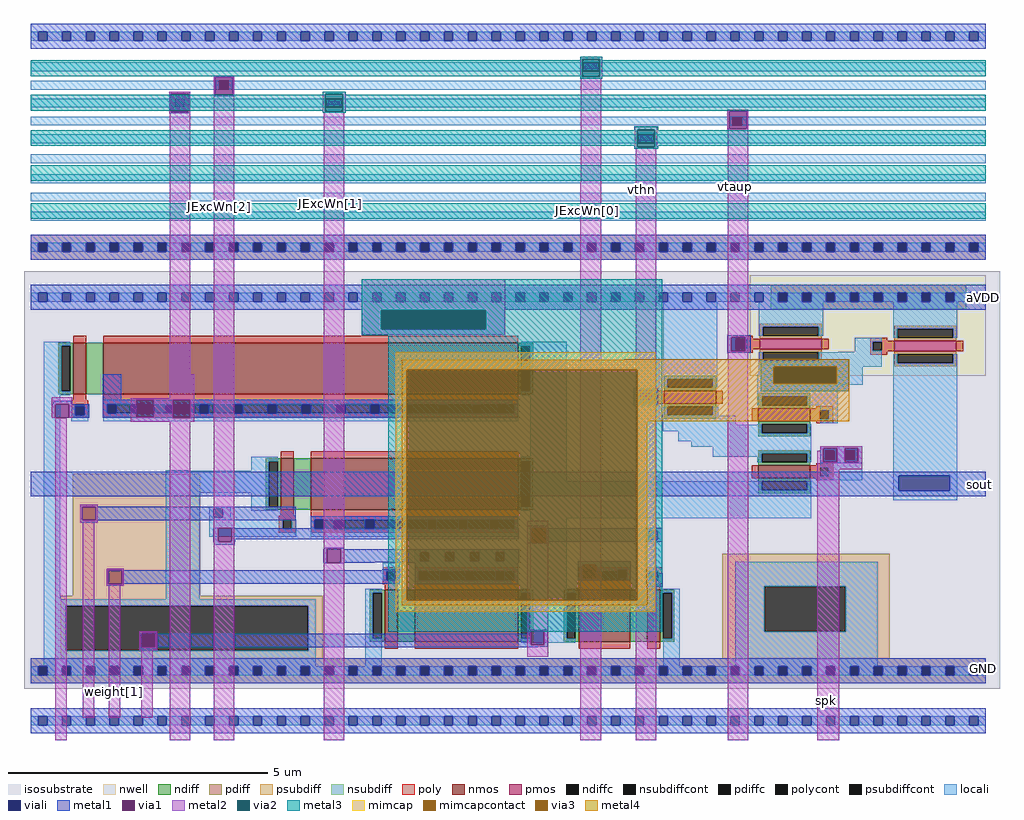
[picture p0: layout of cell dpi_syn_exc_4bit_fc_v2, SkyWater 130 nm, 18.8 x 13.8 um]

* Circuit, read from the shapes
.subckt dpi_syn_exc_4bit_fc_v2 GND spk sout weight[0] weight[2] weight[3] aVDD JExcWn[3] JExcWn[2] JExcWn[1] JExcWn[0] vthn vtaup weight[1]
XM1 n1 weight[3] GND GND sky130_fd_pr__nfet_01v8 w=1 l=0.25
XM2 n2 JExcWn[3] n1 GND sky130_fd_pr__nfet_01v8 w=1 l=8
XM3 n3 weight[2] GND GND sky130_fd_pr__nfet_01v8 w=1 l=0.25
XM4 n2 JExcWn[2] n3 GND sky130_fd_pr__nfet_01v8 w=1 l=4
XM5 n4 weight[1] GND GND sky130_fd_pr__nfet_01v8 w=1 l=0.25
XM6 n2 JExcWn[1] n4 GND sky130_fd_pr__nfet_01v8 w=1 l=2
XM7 n5 JExcWn[0] n2 GND sky130_fd_pr__nfet_01v8 w=1 l=1
XM8 GND weight[0] n5 GND sky130_fd_pr__nfet_01v8 w=1 l=0.25
XM9 aVDD vthn n6 GND sky130_fd_pr__nfet_01v8 w=1 l=0.25
XM10 n6 spk n2 GND sky130_fd_pr__nfet_01v8 w=1 l=0.25
XM11 n7 n7 n6 GND sky130_fd_pr__nfet_01v8 w=1 l=0.25
XM12 aVDD vtaup n7 aVDD sky130_fd_pr__pfet_01v8 w=1.2 l=0.2
XM13 aVDD n7 sout aVDD sky130_fd_pr__pfet_01v8 w=1.2 l=0.2
XC14 n7 aVDD sky130_fd_pr__cap_mim_m3_1 w=5 l=5
.ends

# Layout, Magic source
magic
tech sky130A
magscale 1 2
<< nwell >>
rect 15611 -8295 15684 -7909
<< psubdiff >>
rect 12004 -7784 15684 -7753
rect 12004 -7818 12033 -7784
rect 12067 -7818 12125 -7784
rect 12159 -7818 12217 -7784
rect 12251 -7818 12309 -7784
rect 12343 -7818 12401 -7784
rect 12435 -7818 12493 -7784
rect 12527 -7818 12585 -7784
rect 12619 -7818 12677 -7784
rect 12711 -7818 12769 -7784
rect 12803 -7818 12861 -7784
rect 12895 -7818 12953 -7784
rect 12987 -7818 13045 -7784
rect 13079 -7818 13137 -7784
rect 13171 -7818 13229 -7784
rect 13263 -7818 13321 -7784
rect 13355 -7818 13413 -7784
rect 13447 -7818 13505 -7784
rect 13539 -7818 13597 -7784
rect 13631 -7818 13689 -7784
rect 13723 -7818 13781 -7784
rect 13815 -7818 13873 -7784
rect 13907 -7818 13965 -7784
rect 13999 -7818 14057 -7784
rect 14091 -7818 14149 -7784
rect 14183 -7818 14241 -7784
rect 14275 -7818 14333 -7784
rect 14367 -7818 14425 -7784
rect 14459 -7818 14517 -7784
rect 14551 -7818 14609 -7784
rect 14643 -7818 14701 -7784
rect 14735 -7818 14793 -7784
rect 14827 -7818 14885 -7784
rect 14919 -7818 14977 -7784
rect 15011 -7818 15069 -7784
rect 15103 -7818 15161 -7784
rect 15195 -7818 15253 -7784
rect 15287 -7818 15345 -7784
rect 15379 -7818 15437 -7784
rect 15471 -7818 15529 -7784
rect 15563 -7818 15621 -7784
rect 15655 -7818 15684 -7784
rect 12004 -7849 15684 -7818
rect 12004 -9481 12006 -9385
rect 15611 -9416 15684 -9385
rect 15611 -9450 15621 -9416
rect 15655 -9450 15684 -9416
rect 15611 -9481 15684 -9450
<< psubdiffcont >>
rect 12033 -7818 12067 -7784
rect 12125 -7818 12159 -7784
rect 12217 -7818 12251 -7784
rect 12309 -7818 12343 -7784
rect 12401 -7818 12435 -7784
rect 12493 -7818 12527 -7784
rect 12585 -7818 12619 -7784
rect 12677 -7818 12711 -7784
rect 12769 -7818 12803 -7784
rect 12861 -7818 12895 -7784
rect 12953 -7818 12987 -7784
rect 13045 -7818 13079 -7784
rect 13137 -7818 13171 -7784
rect 13229 -7818 13263 -7784
rect 13321 -7818 13355 -7784
rect 13413 -7818 13447 -7784
rect 13505 -7818 13539 -7784
rect 13597 -7818 13631 -7784
rect 13689 -7818 13723 -7784
rect 13781 -7818 13815 -7784
rect 13873 -7818 13907 -7784
rect 13965 -7818 13999 -7784
rect 14057 -7818 14091 -7784
rect 14149 -7818 14183 -7784
rect 14241 -7818 14275 -7784
rect 14333 -7818 14367 -7784
rect 14425 -7818 14459 -7784
rect 14517 -7818 14551 -7784
rect 14609 -7818 14643 -7784
rect 14701 -7818 14735 -7784
rect 14793 -7818 14827 -7784
rect 14885 -7818 14919 -7784
rect 14977 -7818 15011 -7784
rect 15069 -7818 15103 -7784
rect 15161 -7818 15195 -7784
rect 15253 -7818 15287 -7784
rect 15345 -7818 15379 -7784
rect 15437 -7818 15471 -7784
rect 15529 -7818 15563 -7784
rect 15621 -7818 15655 -7784
rect 15621 -9450 15655 -9416
<< locali >>
rect 12004 -7005 12033 -6971
rect 12067 -7005 12125 -6971
rect 12159 -7005 12217 -6971
rect 12251 -7005 12309 -6971
rect 12343 -7005 12401 -6971
rect 12435 -7005 12493 -6971
rect 12527 -7005 12585 -6971
rect 12619 -7005 12677 -6971
rect 12711 -7005 12769 -6971
rect 12803 -7005 12861 -6971
rect 12895 -7005 12953 -6971
rect 12987 -7005 13045 -6971
rect 13079 -7005 13137 -6971
rect 13171 -7005 13229 -6971
rect 13263 -7005 13321 -6971
rect 13355 -7005 13413 -6971
rect 13447 -7005 13505 -6971
rect 13539 -7005 13597 -6971
rect 13631 -7005 13689 -6971
rect 13723 -7005 13781 -6971
rect 13815 -7005 13873 -6971
rect 13907 -7005 13965 -6971
rect 13999 -7005 14057 -6971
rect 14091 -7005 14149 -6971
rect 14183 -7005 14241 -6971
rect 14275 -7005 14333 -6971
rect 14367 -7005 14425 -6971
rect 14459 -7005 14517 -6971
rect 14551 -7005 14609 -6971
rect 14643 -7005 14701 -6971
rect 14735 -7005 14793 -6971
rect 14827 -7005 14885 -6971
rect 14919 -7005 14977 -6971
rect 15011 -7005 15069 -6971
rect 15103 -7005 15161 -6971
rect 15195 -7005 15253 -6971
rect 15287 -7005 15345 -6971
rect 15379 -7005 15437 -6971
rect 15471 -7005 15529 -6971
rect 15563 -7005 15621 -6971
rect 15655 -7005 15684 -6971
rect 12004 -7122 15684 -7088
rect 12004 -7192 12731 -7159
rect 12765 -7192 15684 -7159
rect 12004 -7193 15684 -7192
rect 12004 -7262 12561 -7228
rect 12595 -7262 15684 -7228
rect 14361 -7263 14395 -7262
rect 12004 -7298 15684 -7297
rect 12004 -7331 14710 -7298
rect 14744 -7331 15684 -7298
rect 12004 -7400 15684 -7366
rect 12004 -7477 15684 -7443
rect 12004 -7554 15684 -7520
rect 12004 -7624 15684 -7590
rect 12004 -7698 15684 -7664
rect 12004 -7818 12033 -7784
rect 12067 -7818 12125 -7784
rect 12159 -7818 12217 -7784
rect 12251 -7818 12309 -7784
rect 12343 -7818 12401 -7784
rect 12435 -7818 12493 -7784
rect 12527 -7818 12585 -7784
rect 12619 -7818 12677 -7784
rect 12711 -7818 12769 -7784
rect 12803 -7818 12861 -7784
rect 12895 -7818 12953 -7784
rect 12987 -7818 13045 -7784
rect 13079 -7818 13137 -7784
rect 13171 -7818 13229 -7784
rect 13263 -7818 13321 -7784
rect 13355 -7818 13413 -7784
rect 13447 -7818 13505 -7784
rect 13539 -7818 13597 -7784
rect 13631 -7818 13689 -7784
rect 13723 -7818 13781 -7784
rect 13815 -7818 13873 -7784
rect 13907 -7818 13965 -7784
rect 13999 -7818 14057 -7784
rect 14091 -7818 14149 -7784
rect 14183 -7818 14241 -7784
rect 14275 -7818 14333 -7784
rect 14367 -7818 14425 -7784
rect 14459 -7818 14517 -7784
rect 14551 -7818 14609 -7784
rect 14643 -7818 14701 -7784
rect 14735 -7818 14793 -7784
rect 14827 -7818 14885 -7784
rect 14919 -7818 14977 -7784
rect 15011 -7818 15069 -7784
rect 15103 -7818 15161 -7784
rect 15195 -7818 15253 -7784
rect 15287 -7818 15345 -7784
rect 15379 -7818 15437 -7784
rect 15471 -7818 15529 -7784
rect 15563 -7818 15621 -7784
rect 15655 -7818 15684 -7784
rect 12004 -8010 12008 -7976
rect 15611 -8010 15621 -7976
rect 15655 -8010 15684 -7976
rect 12004 -9450 12006 -9416
rect 15611 -9450 15621 -9416
rect 15655 -9450 15684 -9416
rect 12004 -9642 12033 -9608
rect 12067 -9642 12125 -9608
rect 12159 -9642 12217 -9608
rect 12251 -9642 12309 -9608
rect 12343 -9642 12401 -9608
rect 12435 -9642 12493 -9608
rect 12527 -9642 12585 -9608
rect 12619 -9642 12677 -9608
rect 12711 -9642 12769 -9608
rect 12803 -9642 12861 -9608
rect 12895 -9642 12953 -9608
rect 12987 -9642 13045 -9608
rect 13079 -9642 13137 -9608
rect 13171 -9642 13229 -9608
rect 13263 -9642 13321 -9608
rect 13355 -9642 13413 -9608
rect 13447 -9642 13505 -9608
rect 13539 -9642 13597 -9608
rect 13631 -9642 13689 -9608
rect 13723 -9642 13781 -9608
rect 13815 -9642 13873 -9608
rect 13907 -9642 13965 -9608
rect 13999 -9642 14057 -9608
rect 14091 -9642 14149 -9608
rect 14183 -9642 14241 -9608
rect 14275 -9642 14333 -9608
rect 14367 -9642 14425 -9608
rect 14459 -9642 14517 -9608
rect 14551 -9642 14609 -9608
rect 14643 -9642 14701 -9608
rect 14735 -9642 14793 -9608
rect 14827 -9642 14885 -9608
rect 14919 -9642 14977 -9608
rect 15011 -9642 15069 -9608
rect 15103 -9642 15161 -9608
rect 15195 -9642 15253 -9608
rect 15287 -9642 15345 -9608
rect 15379 -9642 15437 -9608
rect 15471 -9642 15529 -9608
rect 15563 -9642 15621 -9608
rect 15655 -9642 15684 -9608
<< viali >>
rect 12033 -7005 12067 -6971
rect 12125 -7005 12159 -6971
rect 12217 -7005 12251 -6971
rect 12309 -7005 12343 -6971
rect 12401 -7005 12435 -6971
rect 12493 -7005 12527 -6971
rect 12585 -7005 12619 -6971
rect 12677 -7005 12711 -6971
rect 12769 -7005 12803 -6971
rect 12861 -7005 12895 -6971
rect 12953 -7005 12987 -6971
rect 13045 -7005 13079 -6971
rect 13137 -7005 13171 -6971
rect 13229 -7005 13263 -6971
rect 13321 -7005 13355 -6971
rect 13413 -7005 13447 -6971
rect 13505 -7005 13539 -6971
rect 13597 -7005 13631 -6971
rect 13689 -7005 13723 -6971
rect 13781 -7005 13815 -6971
rect 13873 -7005 13907 -6971
rect 13965 -7005 13999 -6971
rect 14057 -7005 14091 -6971
rect 14149 -7005 14183 -6971
rect 14241 -7005 14275 -6971
rect 14333 -7005 14367 -6971
rect 14425 -7005 14459 -6971
rect 14517 -7005 14551 -6971
rect 14609 -7005 14643 -6971
rect 14701 -7005 14735 -6971
rect 14793 -7005 14827 -6971
rect 14885 -7005 14919 -6971
rect 14977 -7005 15011 -6971
rect 15069 -7005 15103 -6971
rect 15161 -7005 15195 -6971
rect 15253 -7005 15287 -6971
rect 15345 -7005 15379 -6971
rect 15437 -7005 15471 -6971
rect 15529 -7005 15563 -6971
rect 15621 -7005 15655 -6971
rect 12731 -7192 12765 -7158
rect 12561 -7262 12595 -7228
rect 14710 -7332 14744 -7298
rect 12033 -7818 12067 -7784
rect 12125 -7818 12159 -7784
rect 12217 -7818 12251 -7784
rect 12309 -7818 12343 -7784
rect 12401 -7818 12435 -7784
rect 12493 -7818 12527 -7784
rect 12585 -7818 12619 -7784
rect 12677 -7818 12711 -7784
rect 12769 -7818 12803 -7784
rect 12861 -7818 12895 -7784
rect 12953 -7818 12987 -7784
rect 13045 -7818 13079 -7784
rect 13137 -7818 13171 -7784
rect 13229 -7818 13263 -7784
rect 13321 -7818 13355 -7784
rect 13413 -7818 13447 -7784
rect 13505 -7818 13539 -7784
rect 13597 -7818 13631 -7784
rect 13689 -7818 13723 -7784
rect 13781 -7818 13815 -7784
rect 13873 -7818 13907 -7784
rect 13965 -7818 13999 -7784
rect 14057 -7818 14091 -7784
rect 14149 -7818 14183 -7784
rect 14241 -7818 14275 -7784
rect 14333 -7818 14367 -7784
rect 14425 -7818 14459 -7784
rect 14517 -7818 14551 -7784
rect 14609 -7818 14643 -7784
rect 14701 -7818 14735 -7784
rect 14793 -7818 14827 -7784
rect 14885 -7818 14919 -7784
rect 14977 -7818 15011 -7784
rect 15069 -7818 15103 -7784
rect 15161 -7818 15195 -7784
rect 15253 -7818 15287 -7784
rect 15345 -7818 15379 -7784
rect 15437 -7818 15471 -7784
rect 15529 -7818 15563 -7784
rect 15621 -7818 15655 -7784
rect 15621 -8010 15655 -7976
rect 15621 -9450 15655 -9416
rect 12033 -9642 12067 -9608
rect 12125 -9642 12159 -9608
rect 12217 -9642 12251 -9608
rect 12309 -9642 12343 -9608
rect 12401 -9642 12435 -9608
rect 12493 -9642 12527 -9608
rect 12585 -9642 12619 -9608
rect 12677 -9642 12711 -9608
rect 12769 -9642 12803 -9608
rect 12861 -9642 12895 -9608
rect 12953 -9642 12987 -9608
rect 13045 -9642 13079 -9608
rect 13137 -9642 13171 -9608
rect 13229 -9642 13263 -9608
rect 13321 -9642 13355 -9608
rect 13413 -9642 13447 -9608
rect 13505 -9642 13539 -9608
rect 13597 -9642 13631 -9608
rect 13689 -9642 13723 -9608
rect 13781 -9642 13815 -9608
rect 13873 -9642 13907 -9608
rect 13965 -9642 13999 -9608
rect 14057 -9642 14091 -9608
rect 14149 -9642 14183 -9608
rect 14241 -9642 14275 -9608
rect 14333 -9642 14367 -9608
rect 14425 -9642 14459 -9608
rect 14517 -9642 14551 -9608
rect 14609 -9642 14643 -9608
rect 14701 -9642 14735 -9608
rect 14793 -9642 14827 -9608
rect 14885 -9642 14919 -9608
rect 14977 -9642 15011 -9608
rect 15069 -9642 15103 -9608
rect 15161 -9642 15195 -9608
rect 15253 -9642 15287 -9608
rect 15345 -9642 15379 -9608
rect 15437 -9642 15471 -9608
rect 15529 -9642 15563 -9608
rect 15621 -9642 15655 -9608
<< metal1 >>
rect 12004 -6971 15684 -6940
rect 12004 -7005 12033 -6971
rect 12067 -7005 12125 -6971
rect 12159 -7005 12217 -6971
rect 12251 -7005 12309 -6971
rect 12343 -7005 12401 -6971
rect 12435 -7005 12493 -6971
rect 12527 -7005 12585 -6971
rect 12619 -7005 12677 -6971
rect 12711 -7005 12769 -6971
rect 12803 -7005 12861 -6971
rect 12895 -7005 12953 -6971
rect 12987 -7005 13045 -6971
rect 13079 -7005 13137 -6971
rect 13171 -7005 13229 -6971
rect 13263 -7005 13321 -6971
rect 13355 -7005 13413 -6971
rect 13447 -7005 13505 -6971
rect 13539 -7005 13597 -6971
rect 13631 -7005 13689 -6971
rect 13723 -7005 13781 -6971
rect 13815 -7005 13873 -6971
rect 13907 -7005 13965 -6971
rect 13999 -7005 14057 -6971
rect 14091 -7005 14149 -6971
rect 14183 -7005 14241 -6971
rect 14275 -7005 14333 -6971
rect 14367 -7005 14425 -6971
rect 14459 -7005 14517 -6971
rect 14551 -7005 14609 -6971
rect 14643 -7005 14701 -6971
rect 14735 -7005 14793 -6971
rect 14827 -7005 14885 -6971
rect 14919 -7005 14977 -6971
rect 15011 -7005 15069 -6971
rect 15103 -7005 15161 -6971
rect 15195 -7005 15253 -6971
rect 15287 -7005 15345 -6971
rect 15379 -7005 15437 -6971
rect 15471 -7005 15529 -6971
rect 15563 -7005 15621 -6971
rect 15655 -7005 15684 -6971
rect 12004 -7036 15684 -7005
rect 12709 -7146 12789 -7139
rect 12538 -7210 12619 -7202
rect 12538 -7278 12544 -7210
rect 12612 -7278 12619 -7210
rect 12709 -7214 12715 -7146
rect 12783 -7214 12789 -7146
rect 12709 -7219 12789 -7214
rect 12538 -7285 12619 -7278
rect 14688 -7277 14769 -7271
rect 14688 -7345 14695 -7277
rect 14763 -7345 14769 -7277
rect 14688 -7346 14769 -7345
rect 12004 -7784 15684 -7753
rect 12004 -7818 12033 -7784
rect 12067 -7818 12125 -7784
rect 12159 -7818 12217 -7784
rect 12251 -7818 12309 -7784
rect 12343 -7818 12401 -7784
rect 12435 -7818 12493 -7784
rect 12527 -7818 12585 -7784
rect 12619 -7818 12677 -7784
rect 12711 -7818 12769 -7784
rect 12803 -7818 12861 -7784
rect 12895 -7818 12953 -7784
rect 12987 -7818 13045 -7784
rect 13079 -7818 13137 -7784
rect 13171 -7818 13229 -7784
rect 13263 -7818 13321 -7784
rect 13355 -7818 13413 -7784
rect 13447 -7818 13505 -7784
rect 13539 -7818 13597 -7784
rect 13631 -7818 13689 -7784
rect 13723 -7818 13781 -7784
rect 13815 -7818 13873 -7784
rect 13907 -7818 13965 -7784
rect 13999 -7818 14057 -7784
rect 14091 -7818 14149 -7784
rect 14183 -7818 14241 -7784
rect 14275 -7818 14333 -7784
rect 14367 -7818 14425 -7784
rect 14459 -7818 14517 -7784
rect 14551 -7818 14609 -7784
rect 14643 -7818 14701 -7784
rect 14735 -7818 14793 -7784
rect 14827 -7818 14885 -7784
rect 14919 -7818 14977 -7784
rect 15011 -7818 15069 -7784
rect 15103 -7818 15161 -7784
rect 15195 -7818 15253 -7784
rect 15287 -7818 15345 -7784
rect 15379 -7818 15437 -7784
rect 15471 -7818 15529 -7784
rect 15563 -7818 15621 -7784
rect 15655 -7818 15684 -7784
rect 12004 -7849 15684 -7818
rect 12004 -8041 12008 -7945
rect 15611 -7976 15684 -7946
rect 15611 -8010 15621 -7976
rect 15655 -8010 15684 -7976
rect 15611 -8040 15684 -8010
rect 12004 -8760 12006 -8665
rect 15611 -8760 15684 -8665
rect 12004 -9481 12006 -9385
rect 15611 -9416 15684 -9385
rect 15611 -9450 15621 -9416
rect 15655 -9450 15684 -9416
rect 15611 -9481 15684 -9450
rect 12004 -9608 15684 -9577
rect 12004 -9642 12033 -9608
rect 12067 -9642 12125 -9608
rect 12159 -9642 12217 -9608
rect 12251 -9642 12309 -9608
rect 12343 -9642 12401 -9608
rect 12435 -9642 12493 -9608
rect 12527 -9642 12585 -9608
rect 12619 -9642 12677 -9608
rect 12711 -9642 12769 -9608
rect 12803 -9642 12861 -9608
rect 12895 -9642 12953 -9608
rect 12987 -9642 13045 -9608
rect 13079 -9642 13137 -9608
rect 13171 -9642 13229 -9608
rect 13263 -9642 13321 -9608
rect 13355 -9642 13413 -9608
rect 13447 -9642 13505 -9608
rect 13539 -9642 13597 -9608
rect 13631 -9642 13689 -9608
rect 13723 -9642 13781 -9608
rect 13815 -9642 13873 -9608
rect 13907 -9642 13965 -9608
rect 13999 -9642 14057 -9608
rect 14091 -9642 14149 -9608
rect 14183 -9642 14241 -9608
rect 14275 -9642 14333 -9608
rect 14367 -9642 14425 -9608
rect 14459 -9642 14517 -9608
rect 14551 -9642 14609 -9608
rect 14643 -9642 14701 -9608
rect 14735 -9642 14793 -9608
rect 14827 -9642 14885 -9608
rect 14919 -9642 14977 -9608
rect 15011 -9642 15069 -9608
rect 15103 -9642 15161 -9608
rect 15195 -9642 15253 -9608
rect 15287 -9642 15345 -9608
rect 15379 -9642 15437 -9608
rect 15471 -9642 15529 -9608
rect 15563 -9642 15621 -9608
rect 15655 -9642 15684 -9608
rect 12004 -9673 15684 -9642
<< via1 >>
rect 12544 -7228 12612 -7210
rect 12544 -7262 12561 -7228
rect 12561 -7262 12595 -7228
rect 12595 -7262 12612 -7228
rect 12544 -7278 12612 -7262
rect 12715 -7158 12783 -7146
rect 12715 -7192 12731 -7158
rect 12731 -7192 12765 -7158
rect 12765 -7192 12783 -7158
rect 12715 -7214 12783 -7192
rect 14695 -7298 14763 -7277
rect 14695 -7332 14710 -7298
rect 14710 -7332 14744 -7298
rect 14744 -7332 14763 -7298
rect 14695 -7345 14763 -7332
<< metal2 >>
rect 14122 -7076 14206 -7066
rect 12709 -7146 12789 -7139
rect 12538 -7210 12619 -7202
rect 12538 -7278 12544 -7210
rect 12612 -7278 12619 -7210
rect 12538 -7285 12619 -7278
rect 12539 -7909 12619 -7285
rect 12709 -7214 12715 -7146
rect 12783 -7214 12789 -7146
rect 14122 -7144 14129 -7076
rect 14197 -7144 14206 -7076
rect 14122 -7152 14206 -7144
rect 12709 -7909 12789 -7214
rect 13129 -7210 13217 -7201
rect 13129 -7278 13139 -7210
rect 13207 -7278 13217 -7210
rect 13129 -7283 13217 -7278
rect 13133 -7909 13213 -7283
rect 14123 -7551 14203 -7152
rect 14688 -7277 14769 -7271
rect 14332 -7347 14418 -7337
rect 14688 -7345 14695 -7277
rect 14763 -7345 14769 -7277
rect 14688 -7346 14769 -7345
rect 14332 -7413 14341 -7347
rect 14122 -7584 14203 -7551
rect 14335 -7415 14341 -7413
rect 14409 -7413 14418 -7347
rect 14409 -7415 14415 -7413
rect 14122 -7909 14202 -7584
rect 14335 -7909 14415 -7415
rect 14689 -7909 14769 -7346
rect 12099 -9700 12143 -9481
rect 12205 -9614 12249 -9481
rect 12305 -9614 12349 -9481
rect 12430 -9614 12474 -9481
rect 12539 -9700 12619 -9481
rect 12709 -9700 12789 -9481
rect 13133 -9700 13213 -9481
rect 14122 -9700 14202 -9481
rect 14335 -9700 14415 -9481
rect 14689 -9700 14769 -9481
rect 15035 -9700 15119 -9481
<< via2 >>
rect 14129 -7144 14197 -7076
rect 13139 -7278 13207 -7210
rect 14341 -7415 14409 -7347
<< metal3 >>
rect 14122 -7076 14206 -7066
rect 14122 -7081 14129 -7076
rect 12004 -7141 14129 -7081
rect 14122 -7144 14129 -7141
rect 14197 -7081 14206 -7076
rect 14197 -7141 15684 -7081
rect 14197 -7144 14206 -7141
rect 14122 -7152 14206 -7144
rect 13129 -7210 13217 -7201
rect 13129 -7214 13139 -7210
rect 12004 -7274 13139 -7214
rect 13129 -7278 13139 -7274
rect 13207 -7214 13217 -7210
rect 13207 -7274 15684 -7214
rect 13207 -7278 13217 -7274
rect 13129 -7283 13217 -7278
rect 14329 -7347 14423 -7334
rect 14329 -7350 14341 -7347
rect 12004 -7410 14341 -7350
rect 14329 -7415 14341 -7410
rect 14409 -7350 14423 -7347
rect 14409 -7410 15684 -7350
rect 14409 -7415 14423 -7410
rect 14329 -7421 14423 -7415
rect 12004 -7545 15684 -7485
rect 12004 -7691 15684 -7631
use dpi_syn_exc_4bit_fc_v2_norail  dpi_syn_exc_4bit_fc_v2_norail_0
transform 1 0 0 0 1 0
box 12004 -9680 15684 -7896
<< labels >>
flabel metal2 12727 -7646 12737 -7642 1 FreeSans 320 0 0 0 JExcWn[2]
port 20 n
flabel metal2 13156 -7636 13166 -7630 1 FreeSans 320 0 0 0 JExcWn[1]
port 22 n
flabel metal2 14148 -7664 14149 -7652 1 FreeSans 320 0 0 0 JExcWn[0]
port 23 n
flabel metal2 14350 -7585 14365 -7575 1 FreeSans 320 0 0 0 vthn
port 25 n
flabel metal2 14714 -7568 14728 -7562 1 FreeSans 320 0 0 0 vtaup
port 26 n
flabel metal2 12323 -9520 12332 -9508 1 FreeSans 320 0 0 0 weight[1]
port 33 n
flabel metal2 12560 -7680 12566 -7663 1 FreeSans 320 0 0 0 JExcWn[3]
port 18 n
flabel metal2 12445 -9530 12456 -9519 1 FreeSans 320 0 0 0 weight[0]
port 12 n
flabel metal2 12219 -9537 12230 -9526 1 FreeSans 320 0 0 0 weight[2]
port 14 n
flabel metal2 12114 -9556 12125 -9545 1 FreeSans 320 0 0 0 weight[3]
port 15 n
flabel metal2 15065 -9554 15076 -9543 1 FreeSans 320 0 0 0 spk
port 6 n
flabel metal1 15671 -9430 15682 -9419 1 FreeSans 320 0 0 0 GND
port 1 n
flabel metal1 15655 -8721 15666 -8710 1 FreeSans 320 0 0 0 sout
port 8 n
flabel metal1 15671 -8001 15682 -7990 1 FreeSans 320 0 0 0 aVDD
port 16 n
<< end >>

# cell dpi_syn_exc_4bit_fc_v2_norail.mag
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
